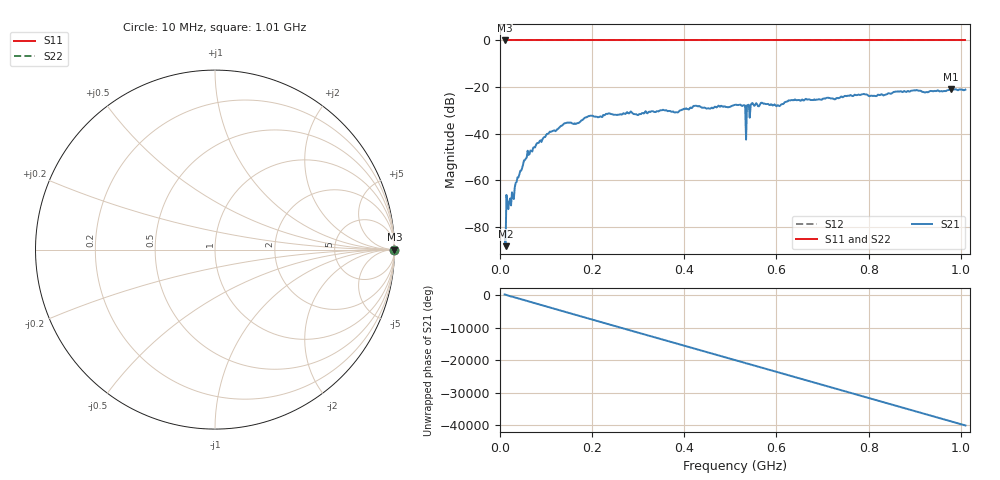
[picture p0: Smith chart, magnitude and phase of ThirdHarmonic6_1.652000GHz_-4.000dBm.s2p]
! 8/16/2025 7:46:37 PM
! C:\ANRITSUVNA\TEMP\TEMP.S2P
! CHANNEL.1
! TR.MEASUREMENT
! RAW.DATA
! RF.CORRECTION.OFF
! AVERAGING.OFF
! IF.BANDWIDTH: 5KHZ
! SWEEPTYPE:  FREQ.SWEEP(Linear)
! Reference Plane Port Info
! PORT:  PORT1  PORT2
! DISTANCE:  0  m  0  m
! TIME:  0  s  0  s
! PHASE.OFFSET:  0  deg.  0  deg.
! LOSS:  0  dB  0  dB
! REF.LOSS:  0  dB  0  dB
! REF.FREQ:  0  Hz  0  Hz
! Power Info
! POWER:  -20  dBm  -20  dBm
! EFF.POWER:  -20  dBm  -20  dBm
! SOURCE.ATTEN:  0  dB  0  dB
! TEST.ATTEN:  0  dB  0  dB
# GHZ S RI R 50.0
! FREQ.GHZ  S11RE  S11IM  S21RE  S21IM  S12RE  S12IM  S22RE  S22IM
!; PortSelection: Port_12
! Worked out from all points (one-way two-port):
!   501 points, 10 MHz to 1.01 GHz, reference 50 ohm
!   highest |S21| = -20.91 dB at 978 MHz (marker M1); lowest = -88.3 dB at 12 MHz (marker M2)
!   lowest |S11| = 0.0 dB at 10 MHz (marker M3)
!   |S11| at or under -10 dB: nowhere
!   |S22| runs from 0.0 to 0.0 dB; largest |S21 - S12| = 1.1
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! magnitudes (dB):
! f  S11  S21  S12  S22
! 10 MHz  0.0  -83.2  0.0  0.0
! 12 MHz  0.0  -88.3  0.0  0.0
! 18 MHz  0.0  -72.4  0.0  0.0
! 26 MHz  0.0  -65.2  0.0  0.0
! 38 MHz  0.0  -58.8  0.0  0.0
! 64 MHz  0.0  -48.8  0.0  0.0
! 106 MHz  0.0  -39.7  0.0  0.0
! 142 MHz  0.0  -35.5  0.0  0.0
! 178 MHz  0.0  -34.2  0.0  0.0
! 234 MHz  0.0  -31.5  0.0  0.0
! 344 MHz  0.0  -30.5  0.0  0.0
! 510 MHz  0.0  -27.7  0.0  0.0
! 528 MHz  0.0  -27.8  0.0  0.0
! 530 MHz  0.0  -27.7  0.0  0.0
! 538 MHz  0.0  -27.7  0.0  0.0
! 540 MHz  0.0  -27.6  0.0  0.0
! 548 MHz  0.0  -26.9  0.0  0.0
! 604 MHz  0.0  -27.9  0.0  0.0
! 678 MHz  0.0  -25.5  0.0  0.0
! 844 MHz  0.0  -22.7  0.0  0.0
! 978 MHz  0.0  -20.9  0.0  0.0
! 1.01 GHz  0.0  -21.1  0.0  0.0
